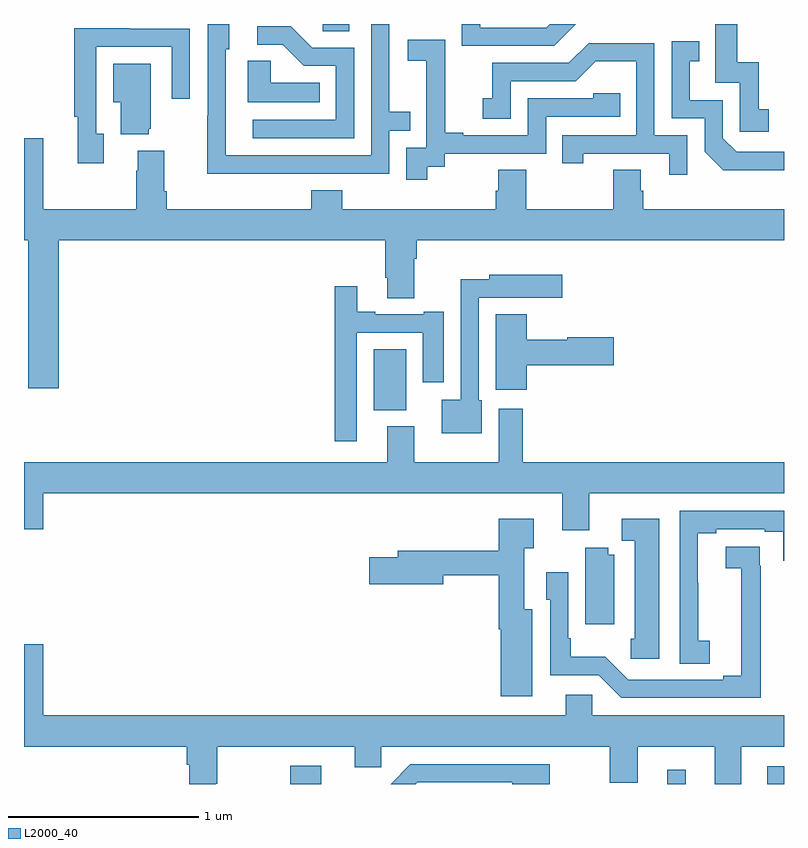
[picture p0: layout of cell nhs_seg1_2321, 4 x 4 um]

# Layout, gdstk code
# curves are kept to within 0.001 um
import gdstk
lib = gdstk.Library(unit=1e-6, precision=1e-09)
def R(c, l, rs):  # rectangles x0, y0, x1, y1
    for r in rs: c.add(gdstk.rectangle(r[:2], r[2:], *l))
def P(c, l, *ps):  # polygons
    for p in ps: c.add(gdstk.Polygon(p, *l))
L2000_40 = (2000, 40)

nhs_seg1_2321 = lib.new_cell('nhs_seg1_2321')
R(nhs_seg1_2321, L2000_40, [(238.4,554.199,238.564,554.296), (240.386,554.199,240.484,554.275), (240.911,554.199,241,554.293), (238.841,556.166,239.011,556.486), (238.572,558.16,238.711,558.199)])
P(nhs_seg1_2321, L2000_40, [(238.427,557.412),(238.923,557.412),(238.923,557.637),(239.033,557.637),(239.033,557.738),(238.923,557.738),(238.923,558.199),(238.827,558.199),(238.827,557.508),(238.062,557.508),(238.062,558.066),(238.081,558.066),(238.081,558.199),(237.966,558.199),(237.966,557.717),(237.964,557.717),(237.964,557.411),(238.427,557.411)],
  [(239.905,558.199),(239.767,558.199),(239.748,558.18),(239.401,558.18),(239.401,558.199),(239.304,558.199),(239.304,558.084),(239.79,558.084)],
  [(240.919,557.751),(240.866,557.751),(240.866,557.998),(240.755,557.998),(240.755,558.199),(240.639,558.199),(240.639,557.889),(240.768,557.889),(240.768,557.631),(240.919,557.631)],
  [(238.737,558.075),(238.518,558.075),(238.405,558.188),(238.227,558.188),(238.227,558.09),(238.361,558.09),(238.472,557.979),(238.641,557.979),(238.641,557.694),(238.203,557.694),(238.203,557.598),(238.737,557.598)],
  [(237.421,557.622),(237.381,557.622),(237.381,558.078),(237.777,558.078),(237.777,557.805),(237.873,557.805),(237.873,558.174),(237.557,558.174),(237.557,558.176),(237.265,558.176),(237.265,557.71),(237.284,557.71),(237.284,557.466),(237.421,557.466)],
  [(239.122,557.449),(239.214,557.449),(239.214,557.517),(239.748,557.517),(239.748,557.712),(240.137,557.712),(240.137,557.835),(239.997,557.835),(239.997,557.808),(239.652,557.808),(239.652,557.613),(239.311,557.613),(239.311,557.626),(239.216,557.626),(239.216,557.909),(239.217,557.909),(239.217,558.115),(239.019,558.115),(239.019,558.005),(239.117,558.005),(239.117,557.777),(239.118,557.777),(239.118,557.547),(239.013,557.547),(239.013,557.379),(239.122,557.379)],
  [(241,557.526),(240.75,557.526),(240.678,557.598),(240.678,557.799),(240.505,557.799),(240.505,558.003),(240.554,558.003),(240.554,558.109),(240.408,558.109),(240.408,557.703),(240.582,557.703),(240.582,557.526),(240.68,557.429),(241,557.429)],
  [(240.492,557.613),(240.318,557.613),(240.318,558.099),(239.972,558.099),(239.867,557.994),(239.464,557.994),(239.464,557.809),(239.415,557.809),(239.415,557.7),(239.562,557.7),(239.562,557.898),(239.904,557.898),(240.008,558.002),(240.222,558.002),(240.222,557.613),(239.833,557.613),(239.833,557.466),(239.944,557.466),(239.944,557.517),(240.395,557.517),(240.395,557.406),(240.492,557.406)],
  [(238.556,557.89),(238.299,557.89),(238.299,558.005),(238.178,558.005),(238.178,557.786),(238.556,557.786)],
  [(237.656,557.649),(237.667,557.649),(237.667,557.989),(237.47,557.989),(237.47,557.786),(237.509,557.786),(237.509,557.618),(237.656,557.618)],
  [(237.182,557.06),(238.901,557.06),(238.901,556.864),(238.913,556.864),(238.913,556.756),(239.053,556.756),(239.053,556.964),(239.066,556.964),(239.066,557.06),(241,557.06),(241,557.224),(240.26,557.224),(240.26,557.322),(240.247,557.322),(240.247,557.432),(240.1,557.432),(240.1,557.224),(239.643,557.224),(239.643,557.432),(239.495,557.432),(239.495,557.322),(239.483,557.322),(239.483,557.224),(238.676,557.224),(238.676,557.323),(238.511,557.323),(238.511,557.224),(237.752,557.224),(237.752,557.32),(237.739,557.32),(237.739,557.533),(237.599,557.533),(237.599,557.426),(237.592,557.426),(237.592,557.224),(237.1,557.224),(237.1,557.599),(237,557.599),(237,557.06),(237.022,557.06),(237.022,556.281),(237.182,556.281)],
  [(239.41,556.218),(239.394,556.218),(239.394,556.758),(239.606,556.758),(239.606,556.757),(239.833,556.757),(239.833,556.879),(239.448,556.879),(239.448,556.856),(239.298,556.856),(239.298,556.222),(239.198,556.222),(239.198,556.046),(239.41,556.046)],
  [(238.752,556.575),(239.099,556.575),(239.099,556.314),(239.209,556.314),(239.209,556.684),(239.105,556.684),(239.105,556.671),(238.849,556.671),(238.849,556.684),(238.753,556.684),(238.753,556.819),(238.636,556.819),(238.636,556.002),(238.752,556.002)],
  [(239.645,556.403),(240.103,556.403),(240.103,556.55),(239.859,556.55),(239.859,556.537),(239.645,556.537),(239.645,556.672),(239.483,556.672),(239.483,556.275),(239.645,556.275)],
  [(239.974,555.728),(241,555.728),(241,555.892),(239.624,555.892),(239.624,556.174),(239.498,556.174),(239.498,555.892),(239.053,555.892),(239.053,556.081),(238.913,556.081),(238.913,555.892),(237,555.892),(237,555.54),(237.1,555.54),(237.1,555.728),(239.834,555.728),(239.834,555.534),(239.974,555.534)],
  [(240.61,554.953),(240.549,554.953),(240.549,555.257),(240.547,555.257),(240.547,555.52),(240.643,555.52),(240.643,555.54),(240.899,555.54),(240.899,555.526),(240.996,555.526),(240.996,555.373),(241,555.373),(241,555.636),(240.45,555.636),(240.45,554.833),(240.61,554.833)],
  [(240.343,555.595),(240.147,555.595),(240.147,555.48),(240.215,555.48),(240.215,554.964),(240.193,554.964),(240.193,554.859),(240.343,554.859)],
  [(239.674,555.118),(239.632,555.118),(239.632,555.439),(239.683,555.439),(239.683,555.595),(239.498,555.595),(239.498,555.427),(238.967,555.427),(238.967,555.393),(238.818,555.393),(238.818,555.251),(239.206,555.251),(239.206,555.298),(239.498,555.298),(239.498,555.014),(239.51,555.014),(239.51,554.661),(239.674,554.661)],
  [(240.878,555.347),(240.872,555.347),(240.872,555.449),(240.693,555.449),(240.693,555.334),(240.775,555.334),(240.776,554.768),(240.68,554.768),(240.68,554.748),(240.18,554.748),(240.059,554.869),(239.878,554.869),(239.878,554.965),(239.865,554.965),(239.865,555.313),(239.748,555.313),(239.748,555.168),(239.769,555.168),(239.769,554.772),(240.024,554.772),(240.144,554.652),(240.878,554.652)],
  [(240.106,555.406),(240.074,555.406),(240.074,555.443),(239.954,555.443),(239.954,555.039),(240.106,555.039)],
  [(238.009,554.2),(238.017,554.2),(238.017,554.396),(238.742,554.396),(238.742,554.286),(238.881,554.286),(238.881,554.396),(240.082,554.396),(240.082,554.206),(240.229,554.206),(240.229,554.396),(240.635,554.396),(240.635,554.199),(240.775,554.199),(240.775,554.396),(241,554.396),(241,554.56),(239.991,554.56),(239.991,554.67),(239.852,554.67),(239.852,554.56),(237.1,554.56),(237.1,554.935),(237,554.935),(237,554.396),(237.857,554.396),(237.857,554.3),(237.869,554.3),(237.869,554.199),(238.009,554.199)],
  [(239.07,554.208),(239.57,554.208),(239.57,554.199),(239.768,554.199),(239.768,554.304),(239.034,554.304),(238.929,554.199),(239.061,554.199)])

lib.write_gds('nhs_seg1_2321.gds')
